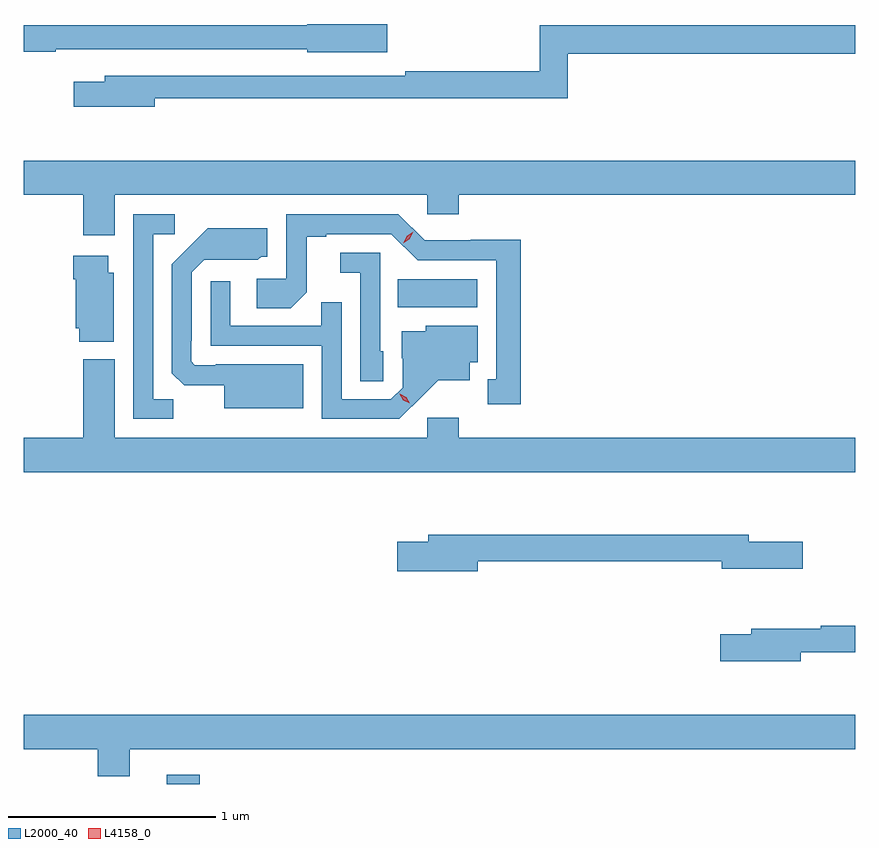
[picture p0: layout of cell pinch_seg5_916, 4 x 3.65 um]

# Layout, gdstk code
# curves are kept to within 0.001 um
import gdstk
lib = gdstk.Library(unit=1e-6, precision=1e-09)
def R(c, l, rs):  # rectangles x0, y0, x1, y1
    for r in rs: c.add(gdstk.rectangle(r[:2], r[2:], *l))
def P(c, l, *ps):  # polygons
    for p in ps: c.add(gdstk.Polygon(p, *l))
L2000_40 = (2000, 40)
L4158_0 = (4158, 0)

pinch_seg5_916 = lib.new_cell('pinch_seg5_916')
R(pinch_seg5_916, L2000_40, [(681.488,899.216,681.647,899.26), (682.6,901.508,682.981,901.642)])
P(pinch_seg5_916, L2000_40, [(682.549,902.87),(682.164,902.87),(682.164,902.864),(680.8,902.864),(680.8,902.736),(680.954,902.736),(680.954,902.748),(682.164,902.748),(682.164,902.735),(682.549,902.735)],
  [(681.43,902.514),(683.417,902.514),(683.417,902.728),(684.8,902.728),(684.8,902.864),(683.281,902.864),(683.281,902.642),(682.636,902.642),(682.636,902.622),(681.191,902.622),(681.191,902.593),(681.042,902.593),(681.042,902.471),(681.43,902.471)],
  [(681.238,902.048),(682.74,902.048),(682.74,901.955),(682.892,901.955),(682.892,902.048),(684.8,902.048),(684.8,902.212),(680.8,902.212),(680.8,902.048),(681.086,902.048),(681.086,901.854),(681.238,901.854)],
  [(681.519,901.067),(681.423,901.067),(681.423,901.86),(681.526,901.86),(681.526,901.956),(681.327,901.956),(681.327,900.972),(681.519,900.972)],
  [(683.191,901.832),(682.95,901.832),(682.95,901.83),(682.728,901.83),(682.602,901.956),(682.062,901.956),(682.062,901.644),(681.921,901.644),(681.921,901.504),(682.085,901.504),(682.161,901.58),(682.161,901.848),(682.255,901.848),(682.255,901.86),(682.569,901.86),(682.695,901.734),(683.072,901.734),(683.072,901.161),(683.033,901.161),(683.033,901.041),(683.191,901.041)],
  [(682.144,901.234),(681.724,901.234),(681.724,901.23),(681.624,901.23),(681.606,901.248),(681.606,901.348),(681.609,901.348),(681.609,901.677),(681.669,901.737),(681.926,901.736),(681.942,901.752),(681.973,901.752),(681.973,901.888),(681.685,901.888),(681.513,901.714),(681.513,901.192),(681.572,901.133),(681.764,901.133),(681.764,901.022),(682.144,901.022)],
  [(682.53,901.296),(682.515,901.296),(682.515,901.77),(682.323,901.77),(682.323,901.673),(682.419,901.673),(682.419,901.153),(682.53,901.153)],
  [(681.235,901.674),(681.208,901.674),(681.208,901.756),(681.038,901.756),(681.038,901.643),(681.05,901.643),(681.05,901.407),(681.068,901.407),(681.068,901.343),(681.235,901.343)],
  [(682.639,901.005),(682.793,901.157),(682.945,901.157),(682.945,901.244),(682.984,901.244),(682.984,901.42),(682.734,901.42),(682.734,901.393),(682.619,901.393),(682.619,901.264),(682.623,901.264),(682.623,901.122),(682.566,901.065),(682.329,901.065),(682.329,901.532),(682.231,901.532),(682.231,901.419),(681.795,901.419),(681.795,901.633),(681.699,901.633),(681.699,901.323),(682.233,901.323),(682.233,900.972),(682.606,900.972)],
  [(684.8,900.88),(682.892,900.88),(682.892,900.976),(682.74,900.976),(682.74,900.88),(681.238,900.88),(681.238,901.258),(681.086,901.258),(681.086,900.88),(680.8,900.88),(680.8,900.716),(684.8,900.716)],
  [(682.984,900.286),(684.158,900.286),(684.158,900.251),(684.547,900.251),(684.547,900.381),(684.286,900.381),(684.286,900.415),(682.745,900.415),(682.745,900.381),(682.596,900.381),(682.596,900.239),(682.984,900.239)],
  [(684.538,899.85),(684.8,899.85),(684.8,899.978),(684.634,899.978),(684.634,899.963),(684.299,899.963),(684.299,899.937),(684.15,899.937),(684.15,899.807),(684.538,899.807)],
  [(681.31,899.384),(684.8,899.384),(684.8,899.548),(680.8,899.548),(680.8,899.384),(681.158,899.384),(681.158,899.254),(681.31,899.254)])
P(pinch_seg5_916, L4158_0, [(682.625,901.817),(682.625,901.817),(682.642,901.85),(682.673,901.87),(682.674,901.87),(682.674,901.87),(682.657,901.837),(682.625,901.817)],
  [(682.657,901.047),(682.626,901.062),(682.609,901.091),(682.609,901.092),(682.609,901.092),(682.64,901.076),(682.657,901.047),(682.657,901.047)])

lib.write_gds('pinch_seg5_916.gds')
